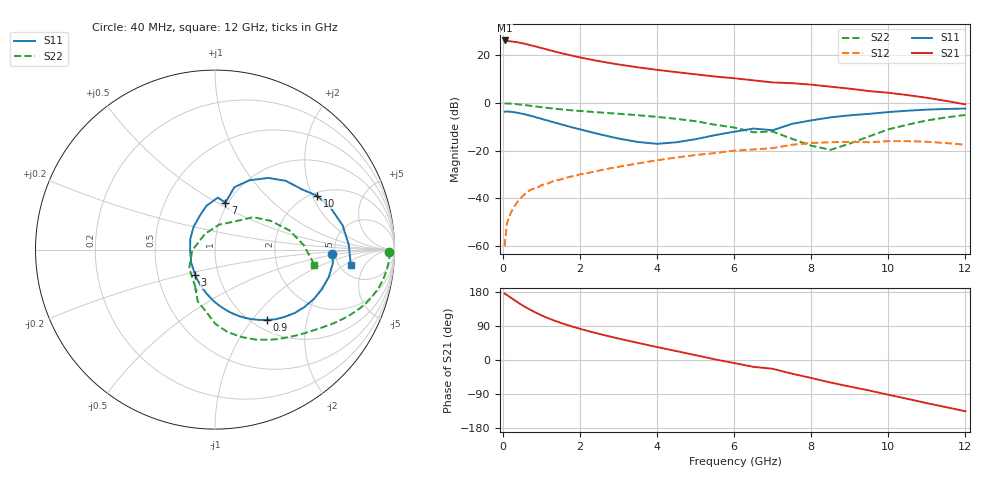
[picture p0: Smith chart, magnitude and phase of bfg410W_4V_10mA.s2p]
! Filename: 410bfg410.001
! BFG410W Field B1
! V1=8.604E-001V,V2=4.000E+000V, I1=1.388E-004A, I2=1.002E-002A
# GHz  S  MA  R 50
!  S11  S21  S12  S22
!Freq(GHz)  Mag  Ang  Mag  Ang  Mag  Ang  Mag  Ang
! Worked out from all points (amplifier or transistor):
!   44 points, 40 MHz to 12 GHz, reference 50 ohm
!   highest |S21| = 26.2 dB at 40 MHz (marker M1)
!   |S21| within 3 dB of that: start of sweep to 956 MHz
!   unconditionally stable (mu >= 1): start of sweep to 51.29 MHz; 2.004 GHz to end of sweep
!   at 700 MHz: K = 0.51, MSG = 30.3 dB, |S12| = -36.5 dB
!   at 2.4 GHz: K = 1.09, MAG = 21.4 dB, |S12| = -28.6 dB
!   at 12 GHz: K = 1.51, MAG = 4.2 dB, |S12| = -17.5 dB
!   S11 on the Smith chart (normalised r, x): 40 MHz: 4.74, -0.42; 900 MHz: 1.16, -1.19; 3 GHz: 0.77, -0.22; 7 GHz: 0.97, +0.55; 10 GHz: 2.12, +2.17; 12 GHz: 6.27, -2.64
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0.04  0.654 -2.2  20.31 175.1  0.001 31.6  0.97 -0.7
0.1  0.661 -6.7  19.87 171.6  0.003 77.9  0.973 -3.2
0.3  0.636 -20.2  18.98 157.8  0.007 76.5  0.951 -10.3
0.5  0.592 -32.7  17.77 144.4  0.011 70.6  0.914 -16.6
0.7  0.541 -43.7  16.26 132.9  0.015 66.9  0.873 -21.8
0.9  0.488 -53.4  14.79 122.4  0.017 63.8  0.832 -26.2
1.2  0.417 -65.9  12.75 109.1  0.021 60.3  0.778 -31.8
1.5  0.357 -76.9  11.07 97.9  0.025 58.0  0.734 -36.5
1.8  0.307 -86.8  9.711 88.1  0.029 56.2  0.698 -40.8
2.2  0.254 -99.5  8.307 76.6  0.034 54.1  0.659 -46.5
2.6  0.212 -113.0  7.227 66.2  0.04 51.7  0.624 -52.2
3  0.179 -128.1  6.383 56.5  0.046 48.7  0.592 -58.0
3.5  0.152 -150.7  5.563 45.1  0.054 44.3  0.552 -65.4
4.5  0.15 156.9  4.407 23.4  0.072 33.0  0.464 -81.4
5.5  0.211 112.7  3.57 1.7  0.089 18.2  0.349 -98.2
6.5  0.29 86.9  2.966 -18.2  0.106 4.6  0.243 -116.8
7  0.268 77.4  2.683 -23.2  0.113 9.3  0.251 -114.0
7.5  0.364 72.8  2.589 -36.2  0.133 -5.8  0.177 -144.2
8.5  0.498 53.3  2.188 -59.5  0.15 -29.1  0.104 121.8
10  0.643 27.9  1.63 -91.7  0.158 -59.4  0.279 40.5
10.5  0.686 19.6  1.458 -102.5  0.158 -70.0  0.35 27.2
12  0.762 -6.7  0.93 -135.2  0.133 -108.7  0.56 -8.7
